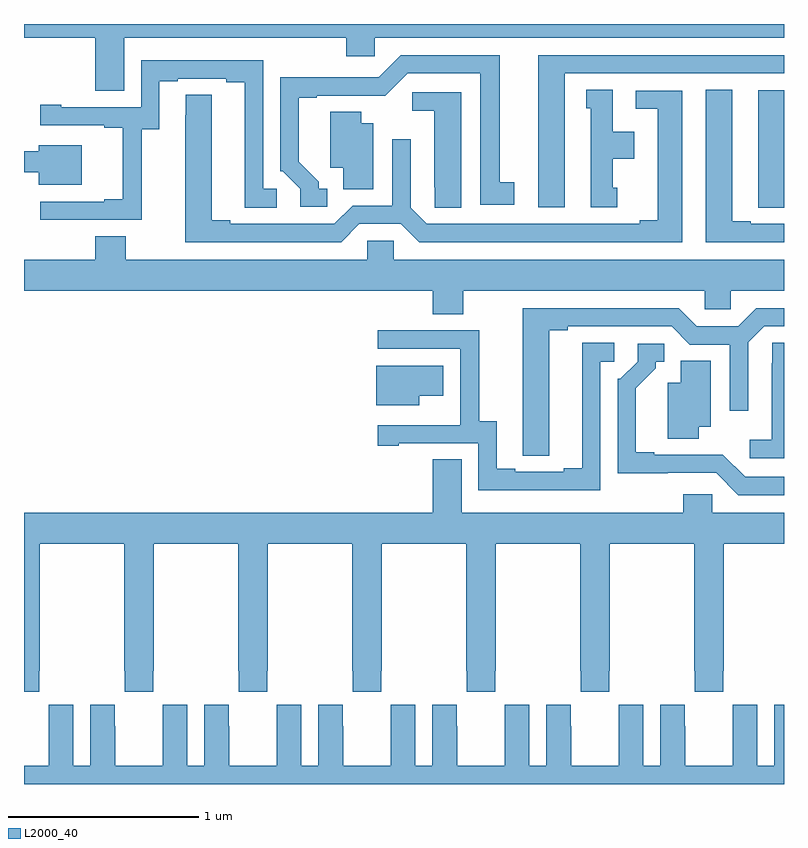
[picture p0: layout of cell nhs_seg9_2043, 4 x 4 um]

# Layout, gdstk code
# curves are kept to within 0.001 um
import gdstk
lib = gdstk.Library(unit=1e-6, precision=1e-09)
def P(c, l, *ps):  # polygons
    for p in ps: c.add(gdstk.Polygon(p, *l))
L2000_40 = (2000, 40)

nhs_seg9_2043 = lib.new_cell('nhs_seg9_2043')
P(nhs_seg9_2043, L2000_40, [(227.527,1188.428),(228.695,1188.428),(228.695,1188.33),(228.846,1188.33),(228.846,1188.428),(231,1188.428),(231,1188.5),(227,1188.5),(227,1188.428),(227.375,1188.428),(227.375,1188.148),(227.527,1188.148)],
  [(229.846,1188.24),(231,1188.24),(231,1188.336),(229.706,1188.336),(229.706,1187.535),(229.846,1187.535)],
  [(228.595,1187.634),(228.55,1187.634),(228.55,1187.669),(228.445,1187.774),(228.445,1188.111),(228.541,1188.111),(228.541,1188.123),(228.902,1188.122),(229.02,1188.24),(229.4,1188.24),(229.4,1187.55),(229.579,1187.55),(229.579,1187.666),(229.504,1187.666),(229.504,1188.336),(228.984,1188.336),(228.867,1188.219),(228.611,1188.219),(228.611,1188.221),(228.348,1188.221),(228.348,1187.724),(228.363,1187.724),(228.453,1187.634),(228.453,1187.538),(228.595,1187.538)],
  [(227.619,1187.947),(227.713,1187.947),(227.713,1188.198),(227.809,1188.198),(227.809,1188.213),(228.065,1188.213),(228.065,1188.193),(228.161,1188.193),(228.161,1187.533),(228.331,1187.533),(228.331,1187.634),(228.258,1187.634),(228.258,1188.309),(227.616,1188.309),(227.616,1188.063),(227.197,1188.063),(227.197,1188.076),(227.085,1188.076),(227.085,1187.967),(227.423,1187.967),(227.423,1187.955),(227.519,1187.955),(227.519,1187.578),(227.423,1187.578),(227.423,1187.565),(227.085,1187.565),(227.085,1187.469),(227.619,1187.469)],
  [(231,1187.448),(230.824,1187.448),(230.824,1187.463),(230.728,1187.463),(230.728,1188.155),(230.588,1188.155),(230.588,1187.352),(231,1187.352)],
  [(230.122,1187.637),(230.098,1187.637),(230.098,1187.792),(230.212,1187.792),(230.212,1187.932),(230.098,1187.932),(230.098,1188.155),(229.958,1188.155),(229.958,1188.057),(229.982,1188.057),(229.982,1187.535),(230.122,1187.535)],
  [(231,1188.151),(230.864,1188.151),(230.864,1187.641),(230.865,1187.641),(230.865,1187.533),(231,1187.533)],
  [(228.765,1187.448),(228.983,1187.448),(229.079,1187.352),(230.464,1187.352),(230.464,1188.15),(230.22,1188.15),(230.22,1188.054),(230.336,1188.054),(230.336,1187.468),(230.24,1187.468),(230.24,1187.448),(229.119,1187.448),(229.035,1187.532),(229.035,1187.893),(228.939,1187.893),(228.939,1187.544),(228.729,1187.544),(228.633,1187.448),(228.085,1187.448),(228.085,1187.468),(227.989,1187.468),(227.989,1188.128),(227.85,1188.128),(227.849,1187.352),(228.669,1187.352)],
  [(229.3,1188.141),(229.044,1188.141),(229.044,1188.044),(229.16,1188.044),(229.16,1187.641),(229.161,1187.641),(229.161,1187.533),(229.3,1187.533)],
  [(228.838,1187.977),(228.775,1187.977),(228.775,1188.038),(228.611,1188.038),(228.611,1187.744),(228.68,1187.744),(228.68,1187.629),(228.838,1187.629)],
  [(227.305,1187.863),(227.078,1187.863),(227.078,1187.83),(227,1187.83),(227,1187.721),(227.078,1187.721),(227.078,1187.654),(227.305,1187.654)],
  [(229.311,1187.096),(230.583,1187.096),(230.583,1186.998),(230.721,1186.998),(230.721,1187.096),(231,1187.096),(231,1187.26),(228.945,1187.26),(228.945,1187.358),(228.807,1187.358),(228.807,1187.26),(227.535,1187.26),(227.535,1187.384),(227.375,1187.384),(227.375,1187.26),(227,1187.26),(227,1187.096),(229.151,1187.096),(229.151,1186.972),(229.311,1186.972)],
  [(229.765,1186.888),(229.861,1186.888),(229.861,1186.908),(230.409,1186.908),(230.505,1186.812),(230.715,1186.812),(230.715,1186.464),(230.811,1186.464),(230.811,1186.824),(230.895,1186.908),(231,1186.908),(231,1187.004),(230.855,1187.004),(230.759,1186.908),(230.541,1186.908),(230.445,1187.004),(229.625,1187.004),(229.626,1186.228),(229.765,1186.228)],
  [(230.034,1186.722),(230.107,1186.722),(230.107,1186.823),(229.937,1186.823),(229.937,1186.163),(229.841,1186.163),(229.841,1186.143),(229.585,1186.143),(229.585,1186.158),(229.489,1186.158),(229.489,1186.409),(229.395,1186.409),(229.395,1186.887),(228.861,1186.887),(228.861,1186.791),(229.296,1186.791),(229.296,1186.39),(229.295,1186.39),(229.295,1186.389),(228.861,1186.389),(228.861,1186.281),(228.973,1186.281),(228.973,1186.293),(229.392,1186.293),(229.392,1186.047),(230.034,1186.047)],
  [(231,1186.823),(230.937,1186.823),(230.937,1186.715),(230.936,1186.715),(230.936,1186.312),(230.82,1186.312),(230.82,1186.215),(231,1186.215)],
  [(231,1186.116),(230.796,1186.116),(230.678,1186.234),(230.317,1186.233),(230.317,1186.246),(230.221,1186.246),(230.221,1186.582),(230.326,1186.687),(230.326,1186.722),(230.371,1186.722),(230.371,1186.818),(230.229,1186.818),(230.229,1186.722),(230.139,1186.632),(230.124,1186.632),(230.124,1186.136),(230.643,1186.137),(230.76,1186.02),(231,1186.02)],
  [(230.551,1186.379),(230.614,1186.379),(230.614,1186.727),(230.456,1186.727),(230.456,1186.612),(230.387,1186.612),(230.387,1186.318),(230.551,1186.318)],
  [(229.081,1186.544),(229.207,1186.544),(229.207,1186.702),(228.854,1186.702),(228.854,1186.493),(229.081,1186.493)],
  [(227,1184.985),(227.079,1184.985),(227.079,1185.097),(227.082,1185.097),(227.082,1185.764),(227.527,1185.764),(227.527,1185.097),(227.529,1185.097),(227.529,1184.985),(227.679,1184.985),(227.679,1185.097),(227.682,1185.097),(227.682,1185.764),(228.127,1185.764),(228.127,1185.097),(228.129,1185.097),(228.129,1184.985),(228.279,1184.985),(228.279,1185.097),(228.282,1185.097),(228.282,1185.764),(228.727,1185.764),(228.727,1185.097),(228.729,1185.097),(228.729,1184.985),(228.879,1184.985),(228.879,1185.097),(228.882,1185.097),(228.882,1185.764),(229.327,1185.764),(229.327,1185.097),(229.329,1185.097),(229.329,1184.985),(229.479,1184.985),(229.479,1185.097),(229.482,1185.097),(229.482,1185.764),(229.927,1185.764),(229.927,1185.097),(229.929,1185.097),(229.929,1184.985),(230.079,1184.985),(230.079,1185.097),(230.082,1185.097),(230.082,1185.764),(230.527,1185.764),(230.527,1185.097),(230.529,1185.097),(230.529,1184.985),(230.679,1184.985),(230.679,1185.097),(230.682,1185.097),(230.682,1185.764),(231,1185.764),(231,1185.928),(230.622,1185.928),(230.622,1186.026),(230.471,1186.026),(230.471,1185.928),(229.303,1185.928),(229.303,1186.208),(229.151,1186.208),(229.151,1185.928),(227,1185.928)],
  [(231,1184.917),(230.948,1184.917),(230.948,1184.596),(230.86,1184.596),(230.86,1184.917),(230.73,1184.917),(230.73,1184.804),(230.729,1184.804),(230.729,1184.596),(230.479,1184.596),(230.479,1184.804),(230.478,1184.804),(230.478,1184.917),(230.348,1184.917),(230.348,1184.596),(230.26,1184.596),(230.26,1184.917),(230.13,1184.917),(230.13,1184.804),(230.129,1184.804),(230.129,1184.596),(229.879,1184.596),(229.879,1184.804),(229.878,1184.804),(229.878,1184.917),(229.748,1184.917),(229.748,1184.596),(229.66,1184.596),(229.66,1184.917),(229.53,1184.917),(229.53,1184.804),(229.529,1184.804),(229.529,1184.596),(229.279,1184.596),(229.279,1184.804),(229.278,1184.804),(229.278,1184.917),(229.148,1184.917),(229.148,1184.596),(229.06,1184.596),(229.06,1184.917),(228.93,1184.917),(228.93,1184.804),(228.929,1184.804),(228.929,1184.596),(228.679,1184.596),(228.679,1184.804),(228.678,1184.804),(228.678,1184.917),(228.548,1184.917),(228.548,1184.596),(228.46,1184.596),(228.46,1184.917),(228.33,1184.917),(228.33,1184.804),(228.329,1184.804),(228.329,1184.596),(228.079,1184.596),(228.079,1184.804),(228.078,1184.804),(228.078,1184.917),(227.948,1184.917),(227.948,1184.596),(227.86,1184.596),(227.86,1184.917),(227.73,1184.917),(227.73,1184.804),(227.729,1184.804),(227.729,1184.596),(227.479,1184.596),(227.479,1184.804),(227.478,1184.804),(227.478,1184.917),(227.348,1184.917),(227.348,1184.596),(227.26,1184.596),(227.26,1184.917),(227.13,1184.917),(227.13,1184.804),(227.129,1184.804),(227.129,1184.596),(227,1184.596),(227,1184.5),(231,1184.5)])

lib.write_gds('nhs_seg9_2043.gds')
